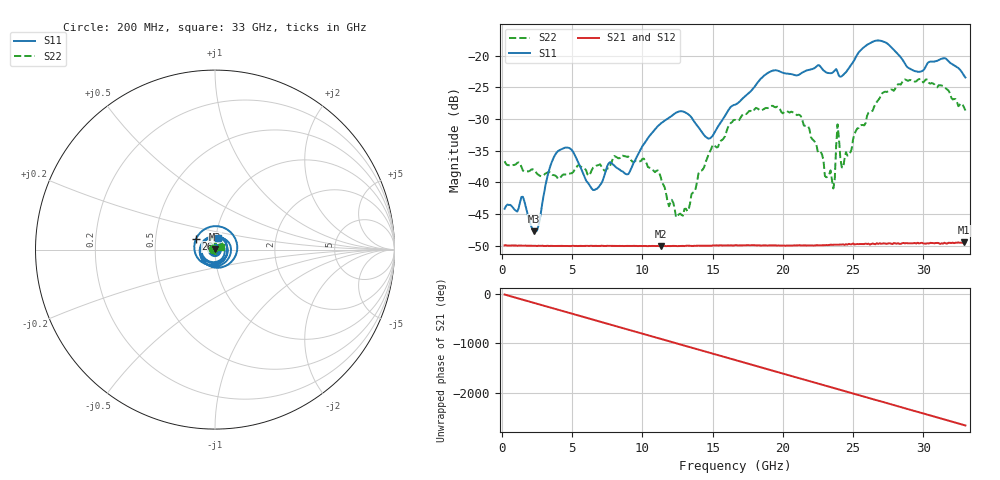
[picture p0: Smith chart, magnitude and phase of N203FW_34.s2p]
# GHZ S RI R 50
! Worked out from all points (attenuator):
!   329 points, 200 MHz to 33 GHz, reference 50 ohm
!   highest |S21| = -49.48 dB at 32.9 GHz (marker M1); lowest = -50.1 dB at 11.3 GHz (marker M2)
!   lowest |S11| = -47.8 dB at 2.3 GHz (marker M3), VSWR 1.01, Z = 50.2 + j0.379 ohm
!   |S11| at or under -10 dB: start of sweep to end of sweep
!   |S22| runs from -45.5 to -23.7 dB; largest |S21 - S12| = 8.7e-05
!   S11 on the Smith chart (normalised r, x): 200 MHz: 1.01, +0.00; 26 GHz: 0.80, +0.10; 33 GHz: 1.02, +0.13
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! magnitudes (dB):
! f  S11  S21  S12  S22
! 200 MHz  -44.2  -50.0  -49.9  -36.7
! 1.5 GHz  -42.3  -50.0  -50.0  -38.1
! 2.3 GHz  -47.8  -50.0  -50.0  -38.1
! 3.9 GHz  -35.3  -50.0  -50.0  -39.1
! 5.7 GHz  -38.1  -50.0  -50.0  -37.7
! 6.5 GHz  -41.2  -50.1  -50.0  -37.7
! 9 GHz  -38.7  -50.1  -50.0  -35.9
! 11.2 GHz  -31.0  -50.1  -50.1  -38.5
! 11.3 GHz  -30.8  -50.1  -50.1  -39.1
! 12.9 GHz  -28.8  -50.0  -50.1  -45.3
! 14.8 GHz  -33.1  -50.0  -50.0  -35.2
! 16.6 GHz  -27.8  -49.9  -49.9  -30.2
! 19.6 GHz  -22.4  -50.0  -49.9  -28.1
! 22.1 GHz  -22.1  -50.0  -49.9  -33.2
! 23.6 GHz  -22.6  -49.9  -49.9  -41.0
! 23.9 GHz  -22.6  -49.9  -49.9  -30.9
! 24.3 GHz  -23.1  -49.8  -49.8  -37.7
! 26 GHz  -18.3  -49.7  -49.7  -29.5
! 27.6 GHz  -18.4  -49.6  -49.6  -25.5
! 30.2 GHz  -21.6  -49.7  -49.6  -23.8
! 32.9 GHz  -23.2  -49.5  -49.5  -28.2
! 33 GHz  -23.5  -49.5  -49.5  -28.7
